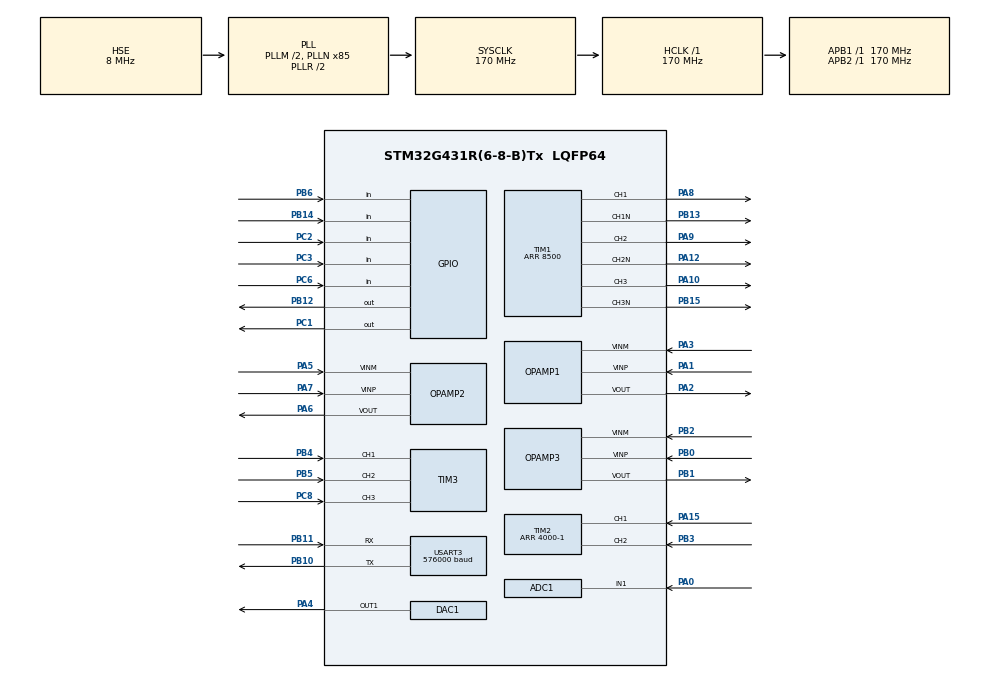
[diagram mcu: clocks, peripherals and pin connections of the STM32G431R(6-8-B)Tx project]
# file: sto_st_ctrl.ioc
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ADC1.Channel-2\#ChannelRegularConversion=ADC_CHANNEL_1
ADC1.ClockPrescaler=ADC_CLOCK_ASYNC_DIV4
ADC1.EnableInjectedConversion=ENABLE
ADC1.EnableRegularConversion=ENABLE
ADC1.ExternalTrigConv=ADC_EXTERNALTRIG_T6_TRGO
ADC1.ExternalTrigInjecConv=ADC_EXTERNALTRIGINJEC_T1_CC4
ADC1.InjNumberOfConversion=1
ADC1.InjectedChannel-1\#ChannelInjectedConversion=ADC_CHANNEL_3
ADC1.InjectedConvMode=Discontinuous
ADC1.InjectedOffsetNumber-1\#ChannelInjectedConversion=ADC_OFFSET_NONE
ADC1.InjectedRank-1\#ChannelInjectedConversion=1
ADC1.InjectedSamplingTime-1\#ChannelInjectedConversion=ADC_SAMPLETIME_6CYCLES_5
ADC1.NbrOfConversionFlag=1
ADC1.OffsetNumber-2\#ChannelRegularConversion=ADC_OFFSET_NONE
ADC1.Rank-2\#ChannelRegularConversion=1
ADC1.SamplingTime-2\#ChannelRegularConversion=ADC_SAMPLETIME_6CYCLES_5
ADC1.master=1
ADC2.ClockPrescaler=ADC_CLOCK_ASYNC_DIV4
ADC2.EnableInjectedConversion=ENABLE
ADC2.EnableRegularConversion=DISABLE
ADC2.ExternalTrigInjecConv=ADC_EXTERNALTRIGINJEC_T1_CC4
ADC2.InjNumberOfConversion=1
ADC2.InjectedChannel-1\#ChannelInjectedConversion=ADC_CHANNEL_3
ADC2.InjectedConvMode=Discontinuous
ADC2.InjectedOffsetNumber-1\#ChannelInjectedConversion=ADC_OFFSET_NONE
ADC2.InjectedRank-1\#ChannelInjectedConversion=1
ADC2.InjectedSamplingTime-1\#ChannelInjectedConversion=ADC_SAMPLETIME_6CYCLES_5
ADC2.Rank1_Channel=ADC_CHANNEL_3
DAC1.DAC_OutputBuffer-DAC_OUT1=DAC_OUTPUTBUFFER_DISABLE
DAC1.DAC_Trigger_OUT1-DAC_OUT1=DAC_TRIGGER_SOFTWARE
Mcu.Family=STM32G4
Mcu.Name=STM32G431R(6-8-B)Tx
Mcu.Package=LQFP64
NVIC.ADC1_2_IRQn=true\:2\:0\:true\:false\:true\:true\:true\:true
NVIC.PriorityGroup=NVIC_PRIORITYGROUP_4
NVIC.TIM1_UP_TIM16_IRQn=true\:0\:0\:false\:false\:true\:true\:true\:true
NVIC.TIM2_IRQn=true\:3\:0\:true\:false\:true\:true\:true\:true
NVIC.TIM3_IRQn=true\:3\:0\:true\:false\:true\:true\:true\:true
NVIC.USART3_IRQn=true\:3\:0\:true\:false\:true\:true\:true\:true
PA0.Mode=IN1-Single-Ended
PA0.Signal=ADC1_IN1
PA1.Mode=Standalone
PA1.Signal=OPAMP1_VINP
PA10.Signal=S_TIM1_CH3
PA12.Mode=PWM Generation2 CH2 CH2N
PA12.Signal=TIM1_CH2N
PA13.Mode=Serial_Wire
PA13.Signal=SYS_JTMS-SWDIO
PA14.Mode=Serial_Wire
PA14.Signal=SYS_JTCK-SWCLK
PA15.Signal=S_TIM2_CH1
PA2.Signal=SharedAnalog_PA2
PA3.Mode=Standalone
PA3.Signal=OPAMP1_VINM
PA4.Signal=COMP_DAC11_group
PA5.Mode=Standalone
PA5.Signal=OPAMP2_VINM
PA6.Signal=SharedAnalog_PA6
PA7.Mode=Standalone
PA7.Signal=OPAMP2_VINP
PA8.Signal=S_TIM1_CH1
PA9.Signal=S_TIM1_CH2
PB0.Mode=Standalone
PB0.Signal=OPAMP3_VINP
PB1.Signal=SharedAnalog_PB1
PB10.Mode=Asynchronous
PB10.Signal=USART3_TX
PB11.Mode=Asynchronous
PB11.Signal=USART3_RX
PB12.Signal=GPIO_Output
PB13.Mode=PWM Generation1 CH1 CH1N
PB13.Signal=TIM1_CH1N
PB14.Signal=GPIO_Input
PB15.Mode=PWM Generation3 CH3 CH3N
PB15.Signal=TIM1_CH3N
PB2.Mode=Standalone
PB2.Signal=OPAMP3_VINM
PB3.Signal=S_TIM2_CH2
PB4.Signal=S_TIM3_CH1
PB5.Signal=S_TIM3_CH2
PB6.Signal=GPIO_Input
PC1.PinState=GPIO_PIN_SET
PC1.Signal=GPIO_Output
PC2.Signal=GPIO_Input
PC3.Signal=GPIO_Input
PC6.Signal=GPIO_Input
PC8.Signal=S_TIM3_CH3
PF0-OSC_IN.Mode=HSE-External-Oscillator
PF0-OSC_IN.Signal=RCC_OSC_IN
PF1-OSC_OUT.Mode=HSE-External-Oscillator
PF1-OSC_OUT.Signal=RCC_OSC_OUT
ProjectManager.HeapSize=0x200
ProjectManager.StackSize=0x400
ProjectManager.TargetToolchain=CMake
RCC.ADC12CLockSelection=RCC_ADC12CLKSOURCE_PLL
RCC.ADC12Freq_Value=42500000
RCC.AHBFreq_Value=170000000
RCC.APB1Freq_Value=170000000
RCC.APB1TimFreq_Value=170000000
RCC.APB2Freq_Value=170000000
RCC.APB2TimFreq_Value=170000000
RCC.CortexFreq_Value=170000000
RCC.EXTERNAL_CLOCK_VALUE=12288000
RCC.HCLKFreq_Value=170000000
RCC.HSE_VALUE=8000000
RCC.HSI48_VALUE=48000000
RCC.HSI_VALUE=16000000
RCC.LSE_VALUE=32768
RCC.PLLM=RCC_PLLM_DIV2
RCC.PLLN=85
RCC.PLLP=RCC_PLLP_DIV8
RCC.PLLSourceVirtual=RCC_PLLSOURCE_HSE
RCC.PREFETCH_ENABLE=1
RCC.SYSCLKFreq_VALUE=170000000
RCC.SYSCLKSource=RCC_SYSCLKSOURCE_PLLCLK
RCC.USBFreq_Value=170000000
RCC.VCOOutputFreq_Value=340000000
SH.COMP_DAC11_group.0=DAC1_OUT1,DAC_OUT1
SH.S_TIM1_CH1.0=TIM1_CH1,PWM Generation1 CH1 CH1N
SH.S_TIM1_CH2.0=TIM1_CH2,PWM Generation2 CH2 CH2N
SH.S_TIM1_CH3.0=TIM1_CH3,PWM Generation3 CH3 CH3N
SH.S_TIM2_CH1.0=TIM2_CH1,Encoder_Interface
SH.S_TIM2_CH2.0=TIM2_CH2,Encoder_Interface
SH.S_TIM3_CH1.0=TIM3_CH1,Xored_Inputs_Hall_Sensor_Interface
SH.S_TIM3_CH2.0=TIM3_CH2,Xored_Inputs_Hall_Sensor_Interface
SH.S_TIM3_CH3.0=TIM3_CH3,Xored_Inputs_Hall_Sensor_Interface
SH.SharedAnalog_PA2.0=OPAMP1_VOUT,Standalone
SH.SharedAnalog_PA2.1=ADC1_IN3,IN3-Single-Ended
SH.SharedAnalog_PA6.0=OPAMP2_VOUT,Standalone
SH.SharedAnalog_PA6.1=ADC2_IN3,IN3-Single-Ended
SH.SharedAnalog_PB1.0=ADC1_IN12
SH.SharedAnalog_PB1.1=OPAMP3_VOUT,Standalone
TIM1.Break2Polarity=TIM_BREAK2POLARITY_LOW
TIM1.BreakPolarity=TIM_BREAKPOLARITY_LOW
TIM1.Channel-PWM\ Generation1\ CH1\ CH1N=TIM_CHANNEL_1
TIM1.Channel-PWM\ Generation2\ CH2\ CH2N=TIM_CHANNEL_2
TIM1.Channel-PWM\ Generation3\ CH3\ CH3N=TIM_CHANNEL_3
TIM1.Channel-PWM\ Generation4\ No\ Output=TIM_CHANNEL_4
TIM1.ClockDivision=TIM_CLOCKDIVISION_DIV2
TIM1.CounterMode=TIM_COUNTERMODE_CENTERALIGNED1
TIM1.DeadTime=20
TIM1.LockLevel=TIM_LOCKLEVEL_1
TIM1.OCMode_PWM-PWM\ Generation4\ No\ Output=TIM_OCMODE_PWM2
TIM1.OffStateIDLEMode=TIM_OSSI_ENABLE
TIM1.OffStateRunMode=TIM_OSSR_ENABLE
TIM1.PeriodNoDither=8500
TIM1.PulseNoDither_4=8500-2
TIM1.RepetitionCounter=1
TIM2.EncoderMode=TIM_ENCODERMODE_TI12
TIM2.IC1Filter=9
TIM2.IC2Filter=9
TIM2.PeriodNoDither=4000-1
TIM3.IC1Filter=11
TIM6.PeriodNoDither=9999
TIM6.Prescaler=170-1
TIM6.TIM_MasterOutputTrigger=TIM_TRGO_UPDATE
USART3.BaudRate=576000
USART3.VirtualMode-Asynchronous=VM_ASYNC
VP_SYS_VS_DBSignals.Mode=DisableDeadBatterySignals
VP_TIM1_VS_ClockSourceINT.Mode=Internal
VP_TIM1_VS_no_output4.Mode=PWM Generation4 No Output
VP_TIM3_VS_ClockSourceINT.Mode=Internal
VP_TIM6_VS_ClockSourceINT.Mode=Enable_Timer
board=custom

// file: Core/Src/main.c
/* USER CODE BEGIN Header */
/**
  ******************************************************************************
  * @file           : main.c
  * @brief          : Main program body — IF 开环精简版
  ******************************************************************************
  */
/* USER CODE END Header */
#include "main.h"
#include "adc.h"
#include "dac.h"
#include "opamp.h"
#include "tim.h"
#include "usart.h"
#include "gpio.h"

/* USER CODE BEGIN Includes */
#include "FOC.h"
#include "vf_ctrl.h"
#include "key.h"
#include <stdio.h>
/* USER CODE END Includes */

/* USER CODE BEGIN PD */

/* USE_VF_CTRL 定义于 vf_ctrl.h（供 main.c 和 stm32g4xx_it.c 共享） */

/*--- VF 模式参数（USE_VF_CTRL=1 时生效） ---*/
#if USE_VF_CTRL
#define SPEED_RUN          200.0f   /* 目标转速 (RPM) */
#define SPEED_STEP_RPM     50.0f    /* 加减速步长 (RPM) */
#define VF_TARGET_ACCEL    120.0f   /* VF 加速度 (RPM/s) */
#endif

/*--- IF/FOC 模式参数（USE_VF_CTRL=0 时生效） ---*/
#if !USE_VF_CTRL
#define SPEED_RUN          500      /* 目标转速 (RPM) */
#define SPEED_STEP_RPM     50.0f
#endif

/*--- ADC 旋钮调速映射（两模式共用） ---*/
#define ADC_RPM_MIN_VAL    4000     /* 旋钮最小时 ADC 读数（映射起点） */
#define ADC_RPM_MAX_VAL    2100     /* 旋钮最大时 ADC 读数（映射终点） */
#define ADC_RPM_MIN_SPEED  300.0f   /* 最低目标转速 (RPM) */
#define ADC_RPM_MAX_SPEED  2000.0f  /* 最高目标转速 (RPM) */
/* USER CODE END PD

/* USER CODE BEGIN PV */
static uint8_t s_u8MotorRunning = 0;   /* 电机运行标志: 0=停止, 1=运行 */

/*--- ADC1 规则组滑动窗口滤波器 ---*/
#define ADC_FILTER_WIN     40                      /* 滑动窗口大小（越大越平滑） */
static uint16_t s_u16AdcBuf[ADC_FILTER_WIN] = {0}; /* 采样缓冲区 */
static uint8_t  s_u8AdcIdx = 0;                    /* 当前写入位置 */
static uint32_t s_u32AdcSum = 0;                   /* 窗口内累加和 */

/*--- ADC 调速输出限幅（防抖） ---*/
#define ADC_RPM_DEADBAND   10.0f    /* RPM 死区：新值与当前值差小于此值时保持不变 */
/* USER CODE END PV

void SystemClock_Config(void);
/* USER CODE BEGIN PFP */
static void Motor_Start(void);
static void Motor_Stop(void);
static uint16_t ADC_InjectedReadOnce(ADC_HandleTypeDef *hadc);
static void VOFA_SendTelemetry(void);
/* USER CODE END PFP */

/* USER CODE BEGIN 0 */

/**
  * @brief  读取 ADC1 规则组值并做滑动窗口滤波
  * @retval 滤波后的 ADC 原始值（无符号 12-bit）
  */
static uint16_t ADC_GetFilteredValue(void)
{
    uint16_t u16NewVal = (uint16_t)HAL_ADC_GetValue(&hadc1);

    /* 减去最旧值，加入新值 */
    s_u32AdcSum -= s_u16AdcBuf[s_u8AdcIdx];
    s_u16AdcBuf[s_u8AdcIdx] = u16NewVal;
    s_u32AdcSum += u16NewVal;

    /* 环形指针步进（非 2 的幂，用取模） */
    s_u8AdcIdx = (s_u8AdcIdx + 1) % ADC_FILTER_WIN;

    return (uint16_t)(s_u32AdcSum / ADC_FILTER_WIN);
}

/**
  * @brief  启动电机：开启 PWM + ADC 中断 + 设定目标转速
  */
static void Motor_Start(void)
{
    if (s_u8MotorRunning) return;
    s_u8MotorRunning = 1;

    FOC_Init();

    /* 上桥前先给三相 50% 占空比，避免 PWM 刚启动时沿用 CCR=0。 */
    TIM1->CCR1 = PWM_HALF_CYCLE;
    TIM1->CCR2 = PWM_HALF_CYCLE;
    TIM1->CCR3 = PWM_HALF_CYCLE;
    TIM1->CNT  = 0;
    __HAL_TIM_CLEAR_FLAG(&htim1, TIM_FLAG_UPDATE);

    /* 启动 TIM1 六路 PWM */
    HAL_TIM_PWM_Start(&htim1, TIM_CHANNEL_1);
    HAL_TIM_PWM_Start(&htim1, TIM_CHANNEL_2);
    HAL_TIM_PWM_Start(&htim1, TIM_CHANNEL_3);
    HAL_TIMEx_PWMN_Start(&htim1, TIM_CHANNEL_1);
    HAL_TIMEx_PWMN_Start(&htim1, TIM_CHANNEL_2);
    HAL_TIMEx_PWMN_Start(&htim1, TIM_CHANNEL_3);

    /* 启动 ADC 注入组（TIM1_CH4 硬件触发） */
    HAL_ADCEx_InjectedStart_IT(&hadc1);
    HAL_ADCEx_InjectedStart_IT(&hadc2);

    /* 使能 TIM1 更新中断（10kHz FOC 控制环） */
    __HAL_TIM_ENABLE_IT(&htim1, TIM_IT_UPDATE);

    /* 设定目标转速 → 状态机自动进入 IF 开环 */
    g_stCtrl.f32TargetRpm = (float)SPEED_RUN;
}

/**
  * @brief  停止电机：关 PWM + 关中断 + 复位 FOC 状态
  */
static void Motor_Stop(void)
{
    if (!s_u8MotorRunning) return;
    s_u8MotorRunning = 0;

    /* 先通知状态机停止 */
    g_stCtrl.f32TargetRpm = 0.0f;

    /* 关闭 TIM1 更新中断 */
    __HAL_TIM_DISABLE_IT(&htim1, TIM_IT_UPDATE);

    TIM1->CCR1 = PWM_HALF_CYCLE;
    TIM1->CCR2 = PWM_HALF_CYCLE;
    TIM1->CCR3 = PWM_HALF_CYCLE;

    /* 关闭 ADC 注入组中断 */
    HAL_ADCEx_InjectedStop_IT(&hadc1);
    HAL_ADCEx_InjectedStop_IT(&hadc2);

    /* 关闭 TIM1 六路 PWM 输出 */
    HAL_TIM_PWM_Stop(&htim1, TIM_CHANNEL_1);
    HAL_TIM_PWM_Stop(&htim1, TIM_CHANNEL_2);
    HAL_TIM_PWM_Stop(&htim1, TIM_CHANNEL_3);
    HAL_TIMEx_PWMN_Stop(&htim1, TIM_CHANNEL_1);
    HAL_TIMEx_PWMN_Stop(&htim1, TIM_CHANNEL_2);
    HAL_TIMEx_PWMN_Stop(&htim1, TIM_CHANNEL_3);

    /* FOC 状态机复位 */
    FOC_Init();
}

#if USE_VF_CTRL
/**
  * @brief  VF 模式启动电机
  */
static void VF_Motor_Start(void)
{
    if (s_u8MotorRunning) return;
    s_u8MotorRunning = 1;

    VF_Init();

    /* 设置加速度 */
    VF_SetAccel(VF_TARGET_ACCEL);

    /* 上桥前先给三相 50% 占空比 */
    TIM1->CCR1 = PWM_HALF_CYCLE_VF;
    TIM1->CCR2 = PWM_HALF_CYCLE_VF;
    TIM1->CCR3 = PWM_HALF_CYCLE_VF;
    TIM1->CNT  = 0;
    __HAL_TIM_CLEAR_FLAG(&htim1, TIM_FLAG_UPDATE);

    /* 启动 TIM1 六路 PWM */
    HAL_TIM_PWM_Start(&htim1, TIM_CHANNEL_1);
    HAL_TIM_PWM_Start(&htim1, TIM_CHANNEL_2);
    HAL_TIM_PWM_Start(&htim1, TIM_CHANNEL_3);
    HAL_TIMEx_PWMN_Start(&htim1, TIM_CHANNEL_1);
    HAL_TIMEx_PWMN_Start(&htim1, TIM_CHANNEL_2);
    HAL_TIMEx_PWMN_Start(&htim1, TIM_CHANNEL_3);

    /* 启动 ADC 注入组 */
    HAL_ADCEx_InjectedStart_IT(&hadc1);
    HAL_ADCEx_InjectedStart_IT(&hadc2);

    /* 使能 TIM1 更新中断 */
    __HAL_TIM_ENABLE_IT(&htim1, TIM_IT_UPDATE);

    /* 设定目标转速 → VF 状态机自动进入 ALIGN → RAMPING */
    VF_SetTargetRpm((float)SPEED_RUN);
}

/**
  * @brief  VF 模式停止电机
  */
static void VF_Motor_Stop(void)
{
    if (!s_u8MotorRunning) return;
    s_u8MotorRunning = 0;

    VF_Stop();

    __HAL_TIM_DISABLE_IT(&htim1, TIM_IT_UPDATE);

    TIM1->CCR1 = PWM_HALF_CYCLE_VF;
    TIM1->CCR2 = PWM_HALF_CYCLE_VF;
    TIM1->CCR3 = PWM_HALF_CYCLE_VF;

    HAL_ADCEx_InjectedStop_IT(&hadc1);
    HAL_ADCEx_InjectedStop_IT(&hadc2);

    HAL_TIM_PWM_Stop(&htim1, TIM_CHANNEL_1);
    HAL_TIM_PWM_Stop(&htim1, TIM_CHANNEL_2);
    HAL_TIM_PWM_Stop(&htim1, TIM_CHANNEL_3);
    HAL_TIMEx_PWMN_Stop(&htim1, TIM_CHANNEL_1);
    HAL_TIMEx_PWMN_Stop(&htim1, TIM_CHANNEL_2);
    HAL_TIMEx_PWMN_Stop(&htim1, TIM_CHANNEL_3);

    VF_Init();
}
#endif /* USE_VF_CTRL */

static uint16_t ADC_InjectedReadOnce(ADC_HandleTypeDef *hadc)
{
    uint32_t saved_jsqr = hadc->Instance->JSQR;
    uint16_t value;

    hadc->Instance->JSQR &= ~ADC_JSQR_JEXTEN;
    __HAL_ADC_CLEAR_FLAG(hadc, ADC_FLAG_JEOC | ADC_FLAG_JEOS);

    if (HAL_ADCEx_InjectedStart(hadc) == HAL_OK)
    {
        if (HAL_ADCEx_InjectedPollForConversion(hadc, 10U) != HAL_OK)
        {
            Error_Handler();
        }
        value = (uint16_t)HAL_ADCEx_InjectedGetValue(hadc, ADC_INJECTED_RANK_1);
        HAL_ADCEx_InjectedStop(hadc);
    }
    else
    {
        Error_Handler();
        value = 0U;
    }

    hadc->Instance->JSQR = saved_jsqr;
    return value;
}

static int32_t VOFA_FloatToMilli(float value)
{
    if (value >= 0.0f)
    {
        return (int32_t)(value * 1000.0f + 0.5f);
    }

    return (int32_t)(value * 1000.0f - 0.5f);
}

static int VOFA_AppendAmps(char *buf, int pos, int size, float value)
{
    int32_t scaled = (int32_t)(value * 1000.0f + 0.5f);
    int32_t abs_scaled = scaled;
    const char *sign = "";

    if (scaled < 0)
    {
        sign = "-";
        abs_scaled = -scaled;
    }

    return pos + snprintf(&buf[pos], (size_t)(size - pos), "%s%ld.%03ld",
                          sign,
                          (long)(abs_scaled / 1000),
                          (long)(abs_scaled % 1000));
}

static int VOFA_AppendMilli(char *buf, int pos, int size, float value)
{
    int32_t scaled = VOFA_FloatToMilli(value);
    int32_t abs_scaled = scaled;
    const char *sign = "";

    if (scaled < 0)
    {
        sign = "-";
        abs_scaled = -scaled;
    }

    return pos + snprintf(&buf[pos], (size_t)(size - pos), "%s%ld.%03ld",
                          sign,
                          (long)(abs_scaled / 1000),
                          (long)(abs_scaled % 1000));
}

static float VOFA_RadToDeg(float rad)
{
    return rad * 57.2957795f;
}

static float VOFA_WrapDeg180(float deg)
{
    while (deg >= 180.0f) deg -= 360.0f;
    while (deg < -180.0f) deg += 360.0f;
    return deg;
}

#if USE_VF_CTRL
static void VOFA_SendTelemetry(void)
{
/*  */    char buf[384];
    int pos = 0;
    float theta_deg = VOFA_RadToDeg(g_stVFCtrl.f32Theta);
    float theta_obs_deg = VOFA_RadToDeg(g_stVFCtrl.stObs.f32ThetaObs);
    float theta_err_deg = VOFA_WrapDeg180(theta_obs_deg - theta_deg);

    pos += snprintf(&buf[pos], sizeof(buf) - (size_t)pos, "vf:");

    /* 1. 目标转速 (RPM) */
    pos = VOFA_AppendMilli(buf, pos, sizeof(buf), g_stVFCtrl.f32TargetRpm);
    pos += snprintf(&buf[pos], sizeof(buf) - (size_t)pos, ",");

    /* 2. id_ref (pu) — IF 模式下恒为 0 */
    pos = VOFA_AppendMilli(buf, pos, sizeof(buf), 0.0f);
    pos += snprintf(&buf[pos], sizeof(buf) - (size_t)pos, ",");

    /* 3. iq_ref (pu) — 电流幅值目标 */
    pos = VOFA_AppendMilli(buf, pos, sizeof(buf), g_stVFCtrl.f32IfITarget);
    pos += snprintf(&buf[pos], sizeof(buf) - (size_t)pos, ",");

    /* 4. id (pu) — Park 变换诊断值 */
    pos = VOFA_AppendMilli(buf, pos, sizeof(buf), g_stVFCtrl.f32Id);
    pos += snprintf(&buf[pos], sizeof(buf) - (size_t)pos, ",");

    /* 5. iq (pu) — Park 变换诊断值 */
    pos = VOFA_AppendMilli(buf, pos, sizeof(buf), g_stVFCtrl.f32Iq);
    pos += snprintf(&buf[pos], sizeof(buf) - (size_t)pos, ",");

    /* 6. ud (pu) */
    pos = VOFA_AppendMilli(buf, pos, sizeof(buf), g_stVFCtrl.f32VdRef);
    pos += snprintf(&buf[pos], sizeof(buf) - (size_t)pos, ",");

    /* 7. uq (pu) */
    pos = VOFA_AppendMilli(buf, pos, sizeof(buf), g_stVFCtrl.f32VqRef);
    pos += snprintf(&buf[pos], sizeof(buf) - (size_t)pos, ",");

    /* 8. 生成电角度 (deg) */
    pos = VOFA_AppendMilli(buf, pos, sizeof(buf), theta_deg);
    pos += snprintf(&buf[pos], sizeof(buf) - (size_t)pos, ",");

    /* 9. 观测器电角度 (deg) */
    pos = VOFA_AppendMilli(buf, pos, sizeof(buf), theta_obs_deg);
    pos += snprintf(&buf[pos], sizeof(buf) - (size_t)pos, ",");

    /* 10. 角度误差 (deg) */
    pos = VOFA_AppendMilli(buf, pos, sizeof(buf), theta_err_deg);
    pos += snprintf(&buf[pos], sizeof(buf) - (size_t)pos, ",");

    /* 11. 观测器速度 (RPM) */
    pos = VOFA_AppendMilli(buf, pos, sizeof(buf), g_stVFCtrl.stObs.f32SpeedObs);
    pos += snprintf(&buf[pos], sizeof(buf) - (size_t)pos, ",");

    /* 12. 目前阶段 */
    pos += snprintf(&buf[pos], sizeof(buf) - (size_t)pos, "%u", (unsigned int)g_stVFCtrl.eStage);
    pos += snprintf(&buf[pos], sizeof(buf) - (size_t)pos, ",");

    /* 13. 速度环总输出 (pu Iq) */
    pos = VOFA_AppendMilli(buf, pos, sizeof(buf), g_stVFCtrl.stPiSpeed.fOutPrev);
    pos += snprintf(&buf[pos], sizeof(buf) - (size_t)pos, ",");

    /* 14. 速度环 P 项 (pu) */
    pos = VOFA_AppendMilli(buf, pos, sizeof(buf), g_stVFCtrl.stPiSpeed.fProportional);
    pos += snprintf(&buf[pos], sizeof(buf) - (size_t)pos, ",");

    /* 15. 速度环 I 项 (pu) */
    pos = VOFA_AppendMilli(buf, pos, sizeof(buf), g_stVFCtrl.stPiSpeed.fIntegral);
    pos += snprintf(&buf[pos], sizeof(buf) - (size_t)pos, ",");

    /* 16. ADC1 规则组值 (滑动滤波后) */
    pos += snprintf(&buf[pos], sizeof(buf) - (size_t)pos, "%u", (unsigned int)ADC_GetFilteredValue());
    pos += snprintf(&buf[pos], sizeof(buf) - (size_t)pos, ",");

    /* 17. SVPWM Ta */
    pos += snprintf(&buf[pos], sizeof(buf) - (size_t)pos, "%u", (unsigned int)g_stVFCtrl.u16Ta);
    pos += snprintf(&buf[pos], sizeof(buf) - (size_t)pos, ",");

    /* 18. SVPWM Tb */
    pos += snprintf(&buf[pos], sizeof(buf) - (size_t)pos, "%u", (unsigned int)g_stVFCtrl.u16Tb);
    pos += snprintf(&buf[pos], sizeof(buf) - (size_t)pos, ",");

    /* 19. SVPWM Tc */
    pos += snprintf(&buf[pos], sizeof(buf) - (size_t)pos, "%u", (unsigned int)g_stVFCtrl.u16Tc);
    pos += snprintf(&buf[pos], sizeof(buf) - (size_t)pos, ",");

    /* 20. IqBase (pu) */
    pos = VOFA_AppendMilli(buf, pos, sizeof(buf), g_stVFCtrl.f32IqBase);
    pos += snprintf(&buf[pos], sizeof(buf) - (size_t)pos, ",");

    /* 21. IqTarget (pu) */
    pos = VOFA_AppendMilli(buf, pos, sizeof(buf), g_stVFCtrl.f32IqTarget);
    pos += snprintf(&buf[pos], sizeof(buf) - (size_t)pos, ",");

    /* 22. VqPiOut (pu) — q电流PI输出电压 */
    pos = VOFA_AppendMilli(buf, pos, sizeof(buf), g_stVFCtrl.f32VqPiOut);
    pos += snprintf(&buf[pos], sizeof(buf) - (size_t)pos, ",");

    /* 23. f32Ia (pu) — A相电流原始值 */
    pos = VOFA_AppendMilli(buf, pos, sizeof(buf), g_stVFCtrl.f32IaRaw);
    pos += snprintf(&buf[pos], sizeof(buf) - (size_t)pos, ",");

    /* 24. f32Ib (pu) — B相电流原始值 */
    pos = VOFA_AppendMilli(buf, pos, sizeof(buf), g_stVFCtrl.f32IbRaw);
    pos += snprintf(&buf[pos], sizeof(buf) - (size_t)pos, ",");

    /* 25. CurrentMag (pu) — 电流幅值(与限幅比较) */
    pos = VOFA_AppendMilli(buf, pos, sizeof(buf), g_stVFCtrl.f32CurrentMag);
    pos += snprintf(&buf[pos], sizeof(buf) - (size_t)pos, ",");

    /* 26. VF阶段VqRef (pu) — 最终输出电压指令 */
    pos = VOFA_AppendMilli(buf, pos, sizeof(buf), g_stVFCtrl.f32VqRef);
    pos += snprintf(&buf[pos], sizeof(buf) - (size_t)pos, "\n");

    if ((pos > 0) && (pos < (int)sizeof(buf)))
    {
        HAL_UART_Transmit(&huart3, (uint8_t *)buf, (uint16_t)pos, 10U);
    }
}
#else
static void VOFA_SendTelemetry(void)
{
    char buf[384];
    int pos = 0;
    float theta_open_deg = VOFA_RadToDeg(g_stMotor.f32Theta);
    float theta_obs_deg = VOFA_RadToDeg(g_stLuenberger.f32ThetaObs);
    float theta_err_deg = VOFA_WrapDeg180(theta_obs_deg - theta_open_deg);

    pos += snprintf(&buf[pos], sizeof(buf) - (size_t)pos, "foc:");
    pos = VOFA_AppendMilli(buf, pos, sizeof(buf), g_stCtrl.f32TargetRpm);
    pos += snprintf(&buf[pos], sizeof(buf) - (size_t)pos, ",");
    pos = VOFA_AppendMilli(buf, pos, sizeof(buf), g_stCtrl.f32RpmRamp);
    pos += snprintf(&buf[pos], sizeof(buf) - (size_t)pos, ",");
    pos = VOFA_AppendAmps(buf, pos, sizeof(buf), g_stCtrl.f32IdRef * FOC_BASE_CURRENT_A);
    pos += snprintf(&buf[pos], sizeof(buf) - (size_t)pos, ",");
    pos = VOFA_AppendAmps(buf, pos, sizeof(buf), g_stCtrl.f32IqRef * FOC_BASE_CURRENT_A);
    pos += snprintf(&buf[pos], sizeof(buf) - (size_t)pos, ",");
    pos = VOFA_AppendAmps(buf, pos, sizeof(buf), g_stMotor.f32Id * FOC_BASE_CURRENT_A);
    pos += snprintf(&buf[pos], sizeof(buf) - (size_t)pos, ",");
    pos = VOFA_AppendAmps(buf, pos, sizeof(buf), g_stMotor.f32Iq * FOC_BASE_CURRENT_A);
    pos += snprintf(&buf[pos], sizeof(buf) - (size_t)pos, ",");
    pos = VOFA_AppendMilli(buf, pos, sizeof(buf), g_stMotor.f32UdRef);
    pos += snprintf(&buf[pos], sizeof(buf) - (size_t)pos, ",");
    pos = VOFA_AppendMilli(buf, pos, sizeof(buf), g_stMotor.f32UqRef);
    pos += snprintf(&buf[pos], sizeof(buf) - (size_t)pos, ",");
    pos = VOFA_AppendMilli(buf, pos, sizeof(buf), theta_open_deg);
    pos += snprintf(&buf[pos], sizeof(buf) - (size_t)pos, ",");
    pos = VOFA_AppendMilli(buf, pos, sizeof(buf), theta_obs_deg);
    pos += snprintf(&buf[pos], sizeof(buf) - (size_t)pos, ",");
    pos = VOFA_AppendMilli(buf, pos, sizeof(buf), theta_err_deg);
    pos += snprintf(&buf[pos], sizeof(buf) - (size_t)pos, ",");
    pos = VOFA_AppendMilli(buf, pos, sizeof(buf), g_stLuenberger.f32SpeedObs);
    pos += snprintf(&buf[pos], sizeof(buf) - (size_t)pos, ",");
    pos = VOFA_AppendMilli(buf, pos, sizeof(buf), g_stCtrl.f32RampedTargetRpm);
    pos += snprintf(&buf[pos], sizeof(buf) - (size_t)pos, ",");
    pos = VOFA_AppendMilli(buf, pos, sizeof(buf), g_stPiSpeed.fOutPrev);
    pos += snprintf(&buf[pos], sizeof(buf) - (size_t)pos, ",");
    pos = VOFA_AppendMilli(buf, pos, sizeof(buf), g_stCtrl.f32SpdProportional);
    pos += snprintf(&buf[pos], sizeof(buf) - (size_t)pos, ",");
    pos = VOFA_AppendMilli(buf, pos, sizeof(buf), g_stCtrl.f32SpdIntegral);
    pos += snprintf(&buf[pos], sizeof(buf) - (size_t)pos, ",");
    pos = VOFA_AppendMilli(buf, pos, sizeof(buf), g_stCtrl.f32IqBase);
    pos += snprintf(&buf[pos], sizeof(buf) - (size_t)pos, ",");
    pos = VOFA_AppendAmps(buf, pos, sizeof(buf), g_stMotor.f32Ia * FOC_BASE_CURRENT_A);
    pos += snprintf(&buf[pos], sizeof(buf) - (size_t)pos, ",");
    pos = VOFA_AppendAmps(buf, pos, sizeof(buf), g_stMotor.f32Ib * FOC_BASE_CURRENT_A);
    pos += snprintf(&buf[pos], sizeof(buf) - (size_t)pos, ",");
    pos = VOFA_AppendMilli(buf, pos, sizeof(buf), g_stMotor.f32Ia);
    pos += snprintf(&buf[pos], sizeof(buf) - (size_t)pos, ",");
    pos = VOFA_AppendMilli(buf, pos, sizeof(buf), g_stMotor.f32Ib);
    pos += snprintf(&buf[pos], sizeof(buf) - (size_t)pos, ",");
    pos = VOFA_AppendMilli(buf, pos, sizeof(buf), FOC_fIaOffsetAdc);
    pos += snprintf(&buf[pos], sizeof(buf) - (size_t)pos, ",");
    pos = VOFA_AppendMilli(buf, pos, sizeof(buf), FOC_fIbOffsetAdc);
    pos += snprintf(&buf[pos], sizeof(buf) - (size_t)pos, ",");
    pos += snprintf(&buf[pos], sizeof(buf) - (size_t)pos, "%u", (unsigned int)(ADC1->JDR1));
    pos += snprintf(&buf[pos], sizeof(buf) - (size_t)pos, ",");
    pos += snprintf(&buf[pos], sizeof(buf) - (size_t)pos, "%u", (unsigned int)(ADC2->JDR1));
    pos += snprintf(&buf[pos], sizeof(buf) - (size_t)pos, ",%u", (unsigned int)g_stCtrl.u16DiagStage);
    pos += snprintf(&buf[pos], sizeof(buf) - (size_t)pos, ",");
    pos += snprintf(&buf[pos], sizeof(buf) - (size_t)pos, "%u", (unsigned int)ADC_GetFilteredValue());
    pos += snprintf(&buf[pos], sizeof(buf) - (size_t)pos, "\n");

    if ((pos > 0) && (pos < (int)sizeof(buf)))
    {
        HAL_UART_Transmit(&huart3, (uint8_t *)buf, (uint16_t)pos, 10U);
    }
}
#endif /* USE_VF_CTRL */

/* USER CODE END 0 */

int main(void)
{

  /* MCU Configuration--------------------------------------------------------*/

  /* Reset of all peripherals, Initializes the Flash interface and the Systick. */
  HAL_Init();

  /* Configure the system clock */
  SystemClock_Config();

  /* Initialize all configured peripherals */
  MX_GPIO_Init();
  MX_ADC1_Init();
  MX_ADC2_Init();
  MX_OPAMP1_Init();
  MX_OPAMP2_Init();
  MX_OPAMP3_Init();
  MX_TIM1_Init();
  MX_DAC1_Init();
  MX_TIM2_Init();
  MX_TIM3_Init();
  MX_USART3_UART_Init();
  MX_TIM6_Init();
  /* USER CODE BEGIN 2 */

  HAL_OPAMP_Start(&hopamp1);
  HAL_OPAMP_Start(&hopamp2);
  HAL_OPAMP_Start(&hopamp3);
  HAL_Delay(10);

  /*--- FOC 初始化 ---*/
  FOC_Init();

  /* 电流零点校准（PWM 未启动时软件触发注入转换取平均值） */
  HAL_ADCEx_Calibration_Start(&hadc1, ADC_SINGLE_ENDED);
  HAL_ADCEx_Calibration_Start(&hadc2, ADC_SINGLE_ENDED);
  HAL_Delay(100);
  {
      int32_t sum_a = 0, sum_b = 0;
      for (int i = 0; i < 128; i++) {
          sum_a += ADC_InjectedReadOnce(&hadc1);
          sum_b += ADC_InjectedReadOnce(&hadc2);
      }
      FOC_fIaOffsetAdc = (float)sum_a / 128.0f;
      FOC_fIbOffsetAdc = (float)sum_b / 128.0f;
  }

  /* TIM1 中断优先级（仅配置，不使能，由 Motor_Start 使能） */
  HAL_NVIC_SetPriority(TIM1_UP_TIM16_IRQn, 1, 0);
  HAL_NVIC_EnableIRQ(TIM1_UP_TIM16_IRQn);
  HAL_TIM_Base_Start(&htim6);//启动 TIM6 作为ADC规则组节拍（10ms）
  HAL_ADC_Start(&hadc1);           // 启动 ADC1 规则组（TIM6 硬件触发，无中断）
  /* USER CODE END 2 */

  /* Infinite loop */
  while (1)
  {

    /* USER CODE BEGIN 3 */
    /*--- 按键扫描 ---*/
    KEY_Scan();

    /*--- 单键启停：释放一次切换一次状态 ---*/
    if (KEY_GetEvent(KEY_ID_RUN) == KEY_EVENT_RELEASE)
    {
        if (s_u8MotorRunning)
        {
#if USE_VF_CTRL
            VF_Motor_Stop();
#else
            Motor_Stop();
#endif
        }
        else
        {
            /* 安全启动：ADC 读数 > 4000 时才允许启动，否则无法启动 */
            if (ADC_GetFilteredValue() > ADC_RPM_MIN_VAL)
            {
#if USE_VF_CTRL
                VF_Motor_Start();
#else
                Motor_Start();
#endif
            }
        }
    }

#if USE_VF_CTRL
    /*--- VF 模式：加速功能已取消 ---*/
#else
    /*--- FOC 模式：加速功能已取消 ---*/
#endif

    /*--- ADC 旋钮连续调速（电机运行时生效） ---*/
    if (s_u8MotorRunning)
    {
        uint16_t adc_val = ADC_GetFilteredValue();
        float fTargetRpm;
        static float s_fLastTargetRpm = 0.0f;

        /* 7阶段以上 ADC 下限提升到450，避免浪费300-450区间 */
        float fAdcMinSpeed = ADC_RPM_MIN_SPEED;  /* 默认300 */
#if USE_VF_CTRL
        if (g_stVFCtrl.eStage >= VF_STAGE_OBS_RUNNING)
            fAdcMinSpeed = 450.0f;
#endif

        if (adc_val >= ADC_RPM_MIN_VAL)
            fTargetRpm = fAdcMinSpeed;
        else if (adc_val <= ADC_RPM_MAX_VAL)
            fTargetRpm = ADC_RPM_MAX_SPEED;
        else
            fTargetRpm = fAdcMinSpeed + (ADC_RPM_MAX_SPEED - fAdcMinSpeed) *
                         (float)(ADC_RPM_MIN_VAL - adc_val) / (float)(ADC_RPM_MIN_VAL - ADC_RPM_MAX_VAL);

        /* RPM 死区滤波：变化量小于阈值时不更新，消除抖动 */
        {
            float fDiff = fTargetRpm - s_fLastTargetRpm;
            if (fDiff > ADC_RPM_DEADBAND)
                fTargetRpm = s_fLastTargetRpm + ADC_RPM_DEADBAND;
            else if (fDiff < -ADC_RPM_DEADBAND)
                fTargetRpm = s_fLastTargetRpm - ADC_RPM_DEADBAND;
            else
                fTargetRpm = s_fLastTargetRpm;
        }
        s_fLastTargetRpm = fTargetRpm;

#if USE_VF_CTRL
        VF_SetTargetRpm(fTargetRpm);
#else
        g_stCtrl.f32TargetRpm = fTargetRpm;
#endif
    }

    /*--- LED1 (PB12) 以 1Hz 闪烁 ---*/
    {
        static uint32_t s_u32LedTick = 0;
        if (HAL_GetTick() - s_u32LedTick >= 500U)
        {
            s_u32LedTick = HAL_GetTick();
            HAL_GPIO_TogglePin(LED_PORT, LED_PIN);
        }
    }

    /*--- VOFA FireWater telemetry, 500Hz ---*/
    {
        static uint32_t s_u32VofaTick = 0;
        if (HAL_GetTick() - s_u32VofaTick >= 2U)
        {
            s_u32VofaTick = HAL_GetTick();
            VOFA_SendTelemetry();
        }
    }
  }
  /* USER CODE END 3 */
}

void SystemClock_Config(void)
{
  RCC_OscInitTypeDef RCC_OscInitStruct = {0};
  RCC_ClkInitTypeDef RCC_ClkInitStruct = {0};

  /** Configure the main internal regulator output voltage
  */
  HAL_PWREx_ControlVoltageScaling(PWR_REGULATOR_VOLTAGE_SCALE1_BOOST);

  /** Initializes the RCC Oscillators according to the specified parameters
  * in the RCC_OscInitTypeDef structure.
  */
  RCC_OscInitStruct.OscillatorType = RCC_OSCILLATORTYPE_HSE;
  RCC_OscInitStruct.HSEState = RCC_HSE_ON;
  RCC_OscInitStruct.PLL.PLLState = RCC_PLL_ON;
  RCC_OscInitStruct.PLL.PLLSource = RCC_PLLSOURCE_HSE;
  RCC_OscInitStruct.PLL.PLLM = RCC_PLLM_DIV2;
  RCC_OscInitStruct.PLL.PLLN = 85;
  RCC_OscInitStruct.PLL.PLLP = RCC_PLLP_DIV8;
  RCC_OscInitStruct.PLL.PLLQ = RCC_PLLQ_DIV2;
  RCC_OscInitStruct.PLL.PLLR = RCC_PLLR_DIV2;
  if (HAL_RCC_OscConfig(&RCC_OscInitStruct) != HAL_OK)
  {
    Error_Handler();
  }

  /** Initializes the CPU, AHB and APB buses clocks
  */
  RCC_ClkInitStruct.ClockType = RCC_CLOCKTYPE_HCLK|RCC_CLOCKTYPE_SYSCLK
                              |RCC_CLOCKTYPE_PCLK1|RCC_CLOCKTYPE_PCLK2;
  RCC_ClkInitStruct.SYSCLKSource = RCC_SYSCLKSOURCE_PLLCLK;
  RCC_ClkInitStruct.AHBCLKDivider = RCC_SYSCLK_DIV1;
  RCC_ClkInitStruct.APB1CLKDivider = RCC_HCLK_DIV1;
  RCC_ClkInitStruct.APB2CLKDivider = RCC_HCLK_DIV1;

  if (HAL_RCC_ClockConfig(&RCC_ClkInitStruct, FLASH_LATENCY_4) != HAL_OK)
  {
    Error_Handler();
  }
}

void Error_Handler(void)
{
  __disable_irq();
  while (1)
  {
  }
}
